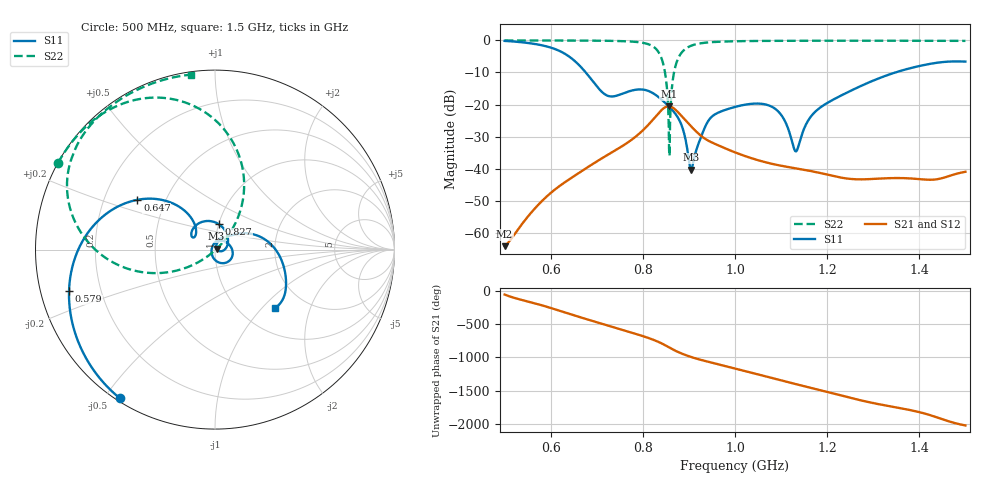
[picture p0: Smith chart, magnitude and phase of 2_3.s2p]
! TOUCHSTONE file generated by CST MICROWAVE STUDIO
! Date and time: Fri Oct  2 16:40:50 2020
! Project name: Scenario_1_Free_Space_out_of_line.cst
! Parameters = {Lambda=346.42; Step_1=17.321; dy1=330.299; dx1=520; L_HA=400; MT=2.54; Rad_Dielectric=30; Rad_Lower=7.3; Rad_Upper=30; a_HA=580; a_WG=246; b_HA=500; b_WG=121; c_HA=0; c_WG=187; d_feed=85; h_feed=15; h_lower=18; h_upper=40}
! Header version: 2018
! Port assignment regex: !\s*Touchstone port\s*([0-9]+)\s*=\s*(CST MWS port|CST DS port)\s*([0-9]+|Zmin|Zmax)\s*\(\"(.*)\"\)(\s*mode\s*([0-9]+))?.*
! Touchstone port assignment:
! Touchstone port 1 = CST MWS port 1 ("")
! Touchstone port 2 = CST MWS port 2 ("")
# GHz S DB R 50
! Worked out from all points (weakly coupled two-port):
!   1003 points, 500 MHz to 1.5 GHz, reference 50 ohm
!   highest |S21| = -20.55 dB at 856 MHz (marker M1); lowest = -64.2 dB at 500 MHz (marker M2)
!   lowest |S11| = -40.3 dB at 905 MHz (marker M3), VSWR 1.02, Z = 50.9 + j0.47 ohm
!   |S11| at or under -10 dB: 676.1 MHz to 1.348 GHz (671.7 MHz wide, 66.4 % of centre)
!   |S22| runs from -36.0 to 0.0 dB; largest |S21 - S12| = 2.7e-06
!   S11 on the Smith chart (normalised r, x): 500 MHz: 0.01, -0.55; 579 MHz: 0.09, -0.14; 647 MHz: 0.35, +0.26; 827 MHz: 1.00, +0.29; 1.5 GHz: 1.42, -1.19
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0.5  -0.15 -122.6  -64.20 -55.0  -64.20 -55.0  -0.01 151.2
0.579  -1.46 -164.1  -50.41 147.4  -50.41 147.4  -0.01 145.7
0.647  -5.79 147.3  -42.69 -0.1  -42.69 -0.1  -0.03 140.2
0.667  -8.50 134.4  -40.81 -42.3  -40.81 -42.3  -0.04 138.3
0.724  -17.28 141.1  -35.67 -159.6  -35.67 -159.6  -0.11 131.6
0.788  -15.32 130.6  -29.61 67.2  -29.61 67.2  -0.51 117.7
0.827  -16.92 80.9  -23.87 -25.5  -23.87 -25.5  -2.43 93.1
0.834  -17.67 71.0  -22.71 -46.2  -22.71 -46.2  -3.64 84.5
0.847  -19.28 52.9  -20.97 -90.5  -20.97 -90.5  -9.11 62.8
0.856  -20.52 40.2  -20.55 -124.7  -20.55 -124.7  -25.50 42.0
0.86  -21.11 34.3  -20.64 -140.0  -20.64 -140.0  -21.63 -140.4
0.867  -22.23 23.6  -21.18 -165.9  -21.18 -165.9  -10.49 -154.8
0.874  -23.59 12.1  -22.06 170.3  -22.06 170.3  -6.53 -165.9
0.888  -28.18 -12.6  -24.21 128.9  -24.21 128.9  -3.18 177.9
0.905  -40.30 28.5  -26.85 87.0  -26.85 87.0  -1.64 165.4
0.944  -24.70 57.7  -31.43 12.1  -31.43 12.1  -0.59 150.4
1  -20.75 6.4  -34.93 -86.5  -34.93 -86.5  -0.25 140.2
1.086  -21.21 -60.6  -38.69 121.5  -38.69 121.5  -0.13 130.9
1.132  -34.63 169.3  -39.91 40.5  -39.91 40.5  -0.11 127.0
1.167  -23.34 64.5  -40.83 -18.6  -40.83 -18.6  -0.10 124.2
1.334  -10.66 9.7  -42.98 70.5  -42.98 70.5  -0.09 111.5
1.5  -6.61 -44.3  -40.99 139.7  -40.99 139.7  -0.14 97.9
